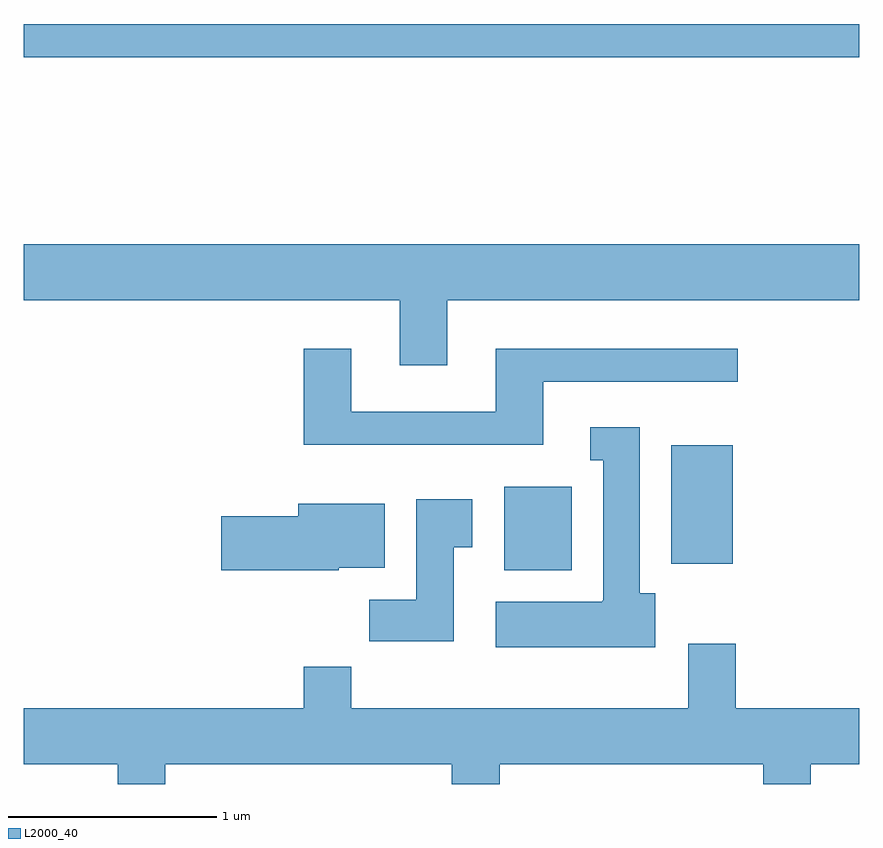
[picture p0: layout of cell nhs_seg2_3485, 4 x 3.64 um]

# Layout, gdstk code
import gdstk
lib = gdstk.Library(unit=1e-6, precision=1e-09)
def R(c, l, rs):  # rectangles x0, y0, x1, y1
    for r in rs: c.add(gdstk.rectangle(r[:2], r[2:], *l))
def P(c, l, *ps):  # polygons
    for p in ps: c.add(gdstk.Polygon(p, *l))
L2000_40 = (2000, 40)

nhs_seg2_3485 = lib.new_cell('nhs_seg2_3485')
R(nhs_seg2_3485, L2000_40, [(289.911,1024.826,290.234,1025.224), (290.711,1024.856,291.004,1025.424), (287.611,1027.281,291.611,1027.439)])
P(nhs_seg2_3485, L2000_40, [(289.639,1026.116),(291.611,1026.116),(291.611,1026.384),(287.611,1026.384),(287.611,1026.116),(289.411,1026.116),(289.411,1025.806),(289.639,1025.806)],
  [(290.099,1025.726),(291.028,1025.726),(291.028,1025.884),(289.871,1025.884),(289.871,1025.584),(289.179,1025.584),(289.179,1025.884),(288.951,1025.884),(288.951,1025.426),(290.099,1025.426)],
  [(290.634,1024.714),(290.559,1024.714),(290.559,1025.509),(290.323,1025.509),(290.323,1025.351),(290.386,1025.351),(290.386,1024.68),(290.38,1024.68),(290.38,1024.674),(289.871,1024.674),(289.871,1024.456),(290.634,1024.456)],
  [(289.669,1024.936),(289.759,1024.936),(289.759,1025.164),(289.491,1025.164),(289.491,1024.684),(289.266,1024.684),(289.266,1024.486),(289.669,1024.486)],
  [(289.12,1024.836),(289.339,1024.836),(289.339,1025.144),(288.926,1025.144),(288.926,1025.084),(288.556,1025.084),(288.556,1024.826),(289.12,1024.826)],
  [(288.289,1023.896),(289.661,1023.896),(289.661,1023.802),(289.889,1023.802),(289.889,1023.896),(291.151,1023.896),(291.151,1023.802),(291.379,1023.802),(291.379,1023.896),(291.611,1023.896),(291.611,1024.164),(291.019,1024.164),(291.019,1024.474),(290.791,1024.474),(290.791,1024.164),(289.179,1024.164),(289.179,1024.364),(288.951,1024.364),(288.951,1024.164),(287.611,1024.164),(287.611,1023.896),(288.061,1023.896),(288.061,1023.802),(288.289,1023.802)])

lib.write_gds('nhs_seg2_3485.gds')
